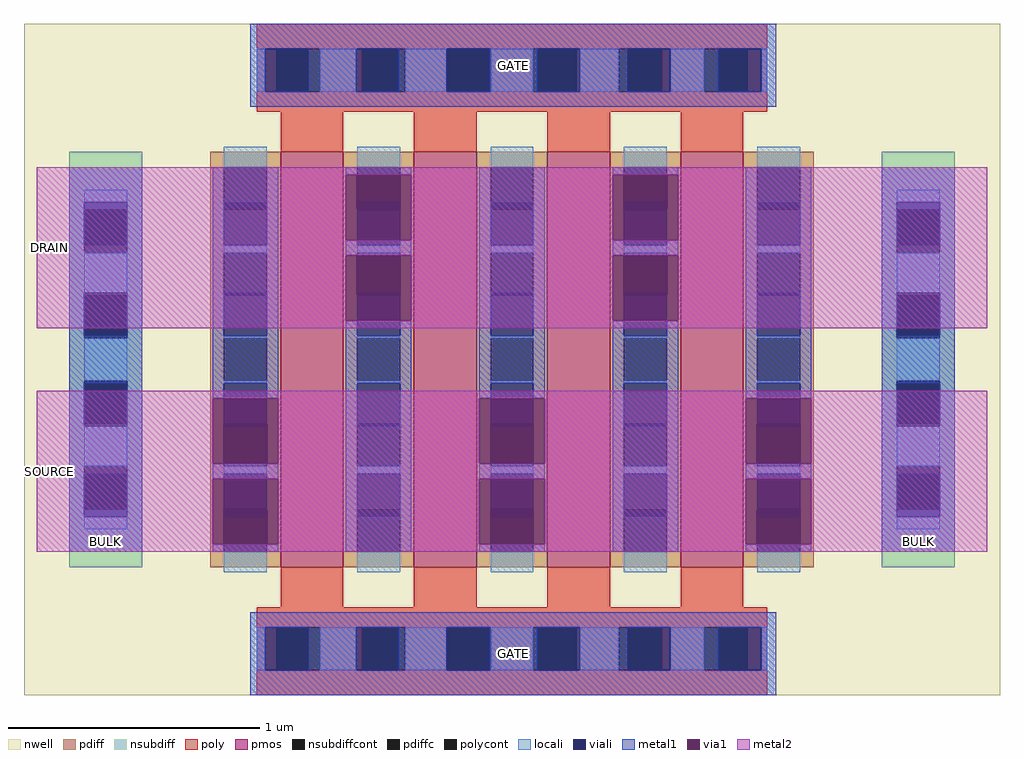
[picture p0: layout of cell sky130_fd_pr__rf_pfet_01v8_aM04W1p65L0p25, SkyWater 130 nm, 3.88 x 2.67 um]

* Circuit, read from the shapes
.subckt sky130_fd_pr__rf_pfet_01v8_aM04W1p65L0p25 BULK DRAIN GATE SOURCE
XM1 DRAIN GATE SOURCE BULK sky130_fd_pr__pfet_01v8 w=1.65 l=0.25 m=4
.ends

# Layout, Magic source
magic
tech sky130A
magscale 1 2
<< nwell >>
rect 0 0 776 534
<< pmos >>
rect 204 102 254 432
rect 310 102 360 432
rect 416 102 466 432
rect 522 102 572 432
<< pdiff >>
rect 148 420 204 432
rect 148 386 159 420
rect 193 386 204 420
rect 148 352 204 386
rect 148 318 159 352
rect 193 318 204 352
rect 148 284 204 318
rect 148 250 159 284
rect 193 250 204 284
rect 148 216 204 250
rect 148 182 159 216
rect 193 182 204 216
rect 148 148 204 182
rect 148 114 159 148
rect 193 114 204 148
rect 148 102 204 114
rect 254 420 310 432
rect 254 386 265 420
rect 299 386 310 420
rect 254 352 310 386
rect 254 318 265 352
rect 299 318 310 352
rect 254 284 310 318
rect 254 250 265 284
rect 299 250 310 284
rect 254 216 310 250
rect 254 182 265 216
rect 299 182 310 216
rect 254 148 310 182
rect 254 114 265 148
rect 299 114 310 148
rect 254 102 310 114
rect 360 420 416 432
rect 360 386 371 420
rect 405 386 416 420
rect 360 352 416 386
rect 360 318 371 352
rect 405 318 416 352
rect 360 284 416 318
rect 360 250 371 284
rect 405 250 416 284
rect 360 216 416 250
rect 360 182 371 216
rect 405 182 416 216
rect 360 148 416 182
rect 360 114 371 148
rect 405 114 416 148
rect 360 102 416 114
rect 466 420 522 432
rect 466 386 477 420
rect 511 386 522 420
rect 466 352 522 386
rect 466 318 477 352
rect 511 318 522 352
rect 466 284 522 318
rect 466 250 477 284
rect 511 250 522 284
rect 466 216 522 250
rect 466 182 477 216
rect 511 182 522 216
rect 466 148 522 182
rect 466 114 477 148
rect 511 114 522 148
rect 466 102 522 114
rect 572 420 628 432
rect 572 386 583 420
rect 617 386 628 420
rect 572 352 628 386
rect 572 318 583 352
rect 617 318 628 352
rect 572 284 628 318
rect 572 250 583 284
rect 617 250 628 284
rect 572 216 628 250
rect 572 182 583 216
rect 617 182 628 216
rect 572 148 628 182
rect 572 114 583 148
rect 617 114 628 148
rect 572 102 628 114
<< pdiffc >>
rect 159 386 193 420
rect 159 318 193 352
rect 159 250 193 284
rect 159 182 193 216
rect 159 114 193 148
rect 265 386 299 420
rect 265 318 299 352
rect 265 250 299 284
rect 265 182 299 216
rect 265 114 299 148
rect 371 386 405 420
rect 371 318 405 352
rect 371 250 405 284
rect 371 182 405 216
rect 371 114 405 148
rect 477 386 511 420
rect 477 318 511 352
rect 477 250 511 284
rect 477 182 511 216
rect 477 114 511 148
rect 583 386 617 420
rect 583 318 617 352
rect 583 250 617 284
rect 583 182 617 216
rect 583 114 617 148
<< nsubdiff >>
rect 36 386 94 432
rect 36 352 48 386
rect 82 352 94 386
rect 36 318 94 352
rect 36 284 48 318
rect 82 284 94 318
rect 36 250 94 284
rect 36 216 48 250
rect 82 216 94 250
rect 36 182 94 216
rect 36 148 48 182
rect 82 148 94 182
rect 36 102 94 148
rect 682 386 740 432
rect 682 352 694 386
rect 728 352 740 386
rect 682 318 740 352
rect 682 284 694 318
rect 728 284 740 318
rect 682 250 740 284
rect 682 216 694 250
rect 728 216 740 250
rect 682 182 740 216
rect 682 148 694 182
rect 728 148 740 182
rect 682 102 740 148
<< nsubdiffcont >>
rect 48 352 82 386
rect 48 284 82 318
rect 48 216 82 250
rect 48 148 82 182
rect 694 352 728 386
rect 694 284 728 318
rect 694 216 728 250
rect 694 148 728 182
<< poly >>
rect 185 514 591 534
rect 185 480 201 514
rect 235 480 269 514
rect 303 480 337 514
rect 371 480 405 514
rect 439 480 473 514
rect 507 480 541 514
rect 575 480 591 514
rect 185 464 591 480
rect 204 432 254 464
rect 310 432 360 464
rect 416 432 466 464
rect 522 432 572 464
rect 204 70 254 102
rect 310 70 360 102
rect 416 70 466 102
rect 522 70 572 102
rect 185 54 591 70
rect 185 20 201 54
rect 235 20 269 54
rect 303 20 337 54
rect 371 20 405 54
rect 439 20 473 54
rect 507 20 541 54
rect 575 20 591 54
rect 185 0 591 20
<< polycont >>
rect 201 480 235 514
rect 269 480 303 514
rect 337 480 371 514
rect 405 480 439 514
rect 473 480 507 514
rect 541 480 575 514
rect 201 20 235 54
rect 269 20 303 54
rect 337 20 371 54
rect 405 20 439 54
rect 473 20 507 54
rect 541 20 575 54
<< locali >>
rect 185 480 192 514
rect 235 480 264 514
rect 303 480 336 514
rect 371 480 405 514
rect 442 480 473 514
rect 514 480 541 514
rect 586 480 591 514
rect 159 420 193 436
rect 48 392 82 402
rect 48 320 82 352
rect 48 250 82 284
rect 48 182 82 214
rect 48 132 82 142
rect 159 352 193 358
rect 159 284 193 286
rect 159 248 193 250
rect 159 176 193 182
rect 159 98 193 114
rect 265 420 299 436
rect 265 352 299 358
rect 265 284 299 286
rect 265 248 299 250
rect 265 176 299 182
rect 265 98 299 114
rect 371 420 405 436
rect 371 352 405 358
rect 371 284 405 286
rect 371 248 405 250
rect 371 176 405 182
rect 371 98 405 114
rect 477 420 511 436
rect 477 352 511 358
rect 477 284 511 286
rect 477 248 511 250
rect 477 176 511 182
rect 477 98 511 114
rect 583 420 617 436
rect 583 352 617 358
rect 583 284 617 286
rect 583 248 617 250
rect 583 176 617 182
rect 694 392 728 402
rect 694 320 728 352
rect 694 250 728 284
rect 694 182 728 214
rect 694 132 728 142
rect 583 98 617 114
rect 185 20 192 54
rect 235 20 264 54
rect 303 20 336 54
rect 371 20 405 54
rect 442 20 473 54
rect 514 20 541 54
rect 586 20 591 54
<< viali >>
rect 192 480 201 514
rect 201 480 226 514
rect 264 480 269 514
rect 269 480 298 514
rect 336 480 337 514
rect 337 480 370 514
rect 408 480 439 514
rect 439 480 442 514
rect 480 480 507 514
rect 507 480 514 514
rect 552 480 575 514
rect 575 480 586 514
rect 48 386 82 392
rect 48 358 82 386
rect 48 318 82 320
rect 48 286 82 318
rect 48 216 82 248
rect 48 214 82 216
rect 48 148 82 176
rect 48 142 82 148
rect 159 386 193 392
rect 159 358 193 386
rect 159 318 193 320
rect 159 286 193 318
rect 159 216 193 248
rect 159 214 193 216
rect 159 148 193 176
rect 159 142 193 148
rect 265 386 299 392
rect 265 358 299 386
rect 265 318 299 320
rect 265 286 299 318
rect 265 216 299 248
rect 265 214 299 216
rect 265 148 299 176
rect 265 142 299 148
rect 371 386 405 392
rect 371 358 405 386
rect 371 318 405 320
rect 371 286 405 318
rect 371 216 405 248
rect 371 214 405 216
rect 371 148 405 176
rect 371 142 405 148
rect 477 386 511 392
rect 477 358 511 386
rect 477 318 511 320
rect 477 286 511 318
rect 477 216 511 248
rect 477 214 511 216
rect 477 148 511 176
rect 477 142 511 148
rect 583 386 617 392
rect 583 358 617 386
rect 583 318 617 320
rect 583 286 617 318
rect 583 216 617 248
rect 583 214 617 216
rect 583 148 617 176
rect 583 142 617 148
rect 694 386 728 392
rect 694 358 728 386
rect 694 318 728 320
rect 694 286 728 318
rect 694 216 728 248
rect 694 214 728 216
rect 694 148 728 176
rect 694 142 728 148
rect 192 20 201 54
rect 201 20 226 54
rect 264 20 269 54
rect 269 20 298 54
rect 336 20 337 54
rect 337 20 370 54
rect 408 20 439 54
rect 439 20 442 54
rect 480 20 507 54
rect 507 20 514 54
rect 552 20 575 54
rect 575 20 586 54
<< metal1 >>
rect 180 514 598 534
rect 180 480 192 514
rect 226 480 264 514
rect 298 480 336 514
rect 370 480 408 514
rect 442 480 480 514
rect 514 480 552 514
rect 586 480 598 514
rect 180 468 598 480
rect 36 392 94 420
rect 36 358 48 392
rect 82 358 94 392
rect 36 320 94 358
rect 36 286 48 320
rect 82 286 94 320
rect 36 248 94 286
rect 36 214 48 248
rect 82 214 94 248
rect 36 176 94 214
rect 36 142 48 176
rect 82 142 94 176
rect 36 114 94 142
rect 150 392 202 420
rect 150 358 159 392
rect 193 358 202 392
rect 150 320 202 358
rect 150 286 159 320
rect 193 286 202 320
rect 150 248 202 286
rect 150 236 159 248
rect 193 236 202 248
rect 150 176 202 184
rect 150 172 159 176
rect 193 172 202 176
rect 150 114 202 120
rect 256 414 308 420
rect 256 358 265 362
rect 299 358 308 362
rect 256 350 308 358
rect 256 286 265 298
rect 299 286 308 298
rect 256 248 308 286
rect 256 214 265 248
rect 299 214 308 248
rect 256 176 308 214
rect 256 142 265 176
rect 299 142 308 176
rect 256 114 308 142
rect 362 392 414 420
rect 362 358 371 392
rect 405 358 414 392
rect 362 320 414 358
rect 362 286 371 320
rect 405 286 414 320
rect 362 248 414 286
rect 362 236 371 248
rect 405 236 414 248
rect 362 176 414 184
rect 362 172 371 176
rect 405 172 414 176
rect 362 114 414 120
rect 468 414 520 420
rect 468 358 477 362
rect 511 358 520 362
rect 468 350 520 358
rect 468 286 477 298
rect 511 286 520 298
rect 468 248 520 286
rect 468 214 477 248
rect 511 214 520 248
rect 468 176 520 214
rect 468 142 477 176
rect 511 142 520 176
rect 468 114 520 142
rect 574 392 626 420
rect 574 358 583 392
rect 617 358 626 392
rect 574 320 626 358
rect 574 286 583 320
rect 617 286 626 320
rect 574 248 626 286
rect 574 236 583 248
rect 617 236 626 248
rect 574 176 626 184
rect 574 172 583 176
rect 617 172 626 176
rect 574 114 626 120
rect 682 392 740 420
rect 682 358 694 392
rect 728 358 740 392
rect 682 320 740 358
rect 682 286 694 320
rect 728 286 740 320
rect 682 248 740 286
rect 682 214 694 248
rect 728 214 740 248
rect 682 176 740 214
rect 682 142 694 176
rect 728 142 740 176
rect 682 114 740 142
rect 180 54 598 66
rect 180 20 192 54
rect 226 20 264 54
rect 298 20 336 54
rect 370 20 408 54
rect 442 20 480 54
rect 514 20 552 54
rect 586 20 598 54
rect 180 0 598 20
<< via1 >>
rect 150 214 159 236
rect 159 214 193 236
rect 193 214 202 236
rect 150 184 202 214
rect 150 142 159 172
rect 159 142 193 172
rect 193 142 202 172
rect 150 120 202 142
rect 256 392 308 414
rect 256 362 265 392
rect 265 362 299 392
rect 299 362 308 392
rect 256 320 308 350
rect 256 298 265 320
rect 265 298 299 320
rect 299 298 308 320
rect 362 214 371 236
rect 371 214 405 236
rect 405 214 414 236
rect 362 184 414 214
rect 362 142 371 172
rect 371 142 405 172
rect 405 142 414 172
rect 362 120 414 142
rect 468 392 520 414
rect 468 362 477 392
rect 477 362 511 392
rect 511 362 520 392
rect 468 320 520 350
rect 468 298 477 320
rect 477 298 511 320
rect 511 298 520 320
rect 574 214 583 236
rect 583 214 617 236
rect 617 214 626 236
rect 574 184 626 214
rect 574 142 583 172
rect 583 142 617 172
rect 617 142 626 172
rect 574 120 626 142
<< metal2 >>
rect 10 414 766 420
rect 10 362 256 414
rect 308 362 468 414
rect 520 362 766 414
rect 10 350 766 362
rect 10 298 256 350
rect 308 298 468 350
rect 520 298 766 350
rect 10 292 766 298
rect 10 236 766 242
rect 10 184 150 236
rect 202 184 362 236
rect 414 184 574 236
rect 626 184 766 236
rect 10 172 766 184
rect 10 120 150 172
rect 202 120 362 172
rect 414 120 574 172
rect 626 120 766 172
rect 10 114 766 120
<< labels >>
flabel metal2 s 10 292 30 420 7 FreeSans 300 180 0 0 DRAIN
port 2 nsew
flabel metal2 s 10 114 30 242 7 FreeSans 300 180 0 0 SOURCE
port 4 nsew
flabel metal1 s 36 114 94 130 3 FreeSans 300 90 0 0 BULK
port 1 nsew
flabel metal1 s 180 468 598 534 0 FreeSans 300 0 0 0 GATE
port 3 nsew
flabel metal1 s 682 114 740 130 3 FreeSans 300 90 0 0 BULK
port 1 nsew
flabel metal1 s 180 0 598 66 0 FreeSans 300 0 0 0 GATE
port 3 nsew
<< properties >>
string GDS_FILE $PDKPATH/libs.ref/sky130_fd_pr/gds/sky130_fd_pr.gds
string GDS_END 9505486
string GDS_START 9494654
<< end >>
